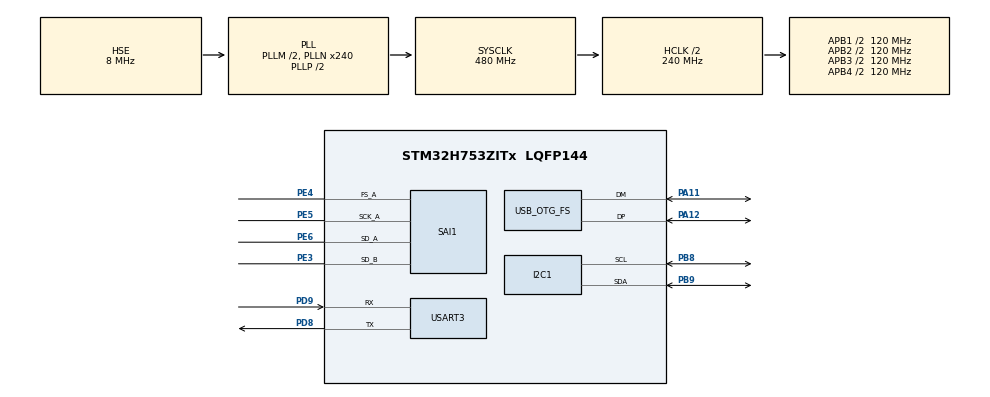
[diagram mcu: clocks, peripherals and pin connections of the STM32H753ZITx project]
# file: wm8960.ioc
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CORTEX_M7.default_mode_Activation=1
Dma.Request0=SAI1_A
Dma.Request1=SAI1_B
Dma.SAI1_A.0.Direction=DMA_MEMORY_TO_PERIPH
Dma.SAI1_A.0.EventEnable=DISABLE
Dma.SAI1_A.0.FIFOMode=DMA_FIFOMODE_DISABLE
Dma.SAI1_A.0.Instance=DMA1_Stream0
Dma.SAI1_A.0.MemDataAlignment=DMA_MDATAALIGN_HALFWORD
Dma.SAI1_A.0.MemInc=DMA_MINC_ENABLE
Dma.SAI1_A.0.Mode=DMA_CIRCULAR
Dma.SAI1_A.0.PeriphDataAlignment=DMA_PDATAALIGN_HALFWORD
Dma.SAI1_A.0.PeriphInc=DMA_PINC_DISABLE
Dma.SAI1_A.0.Polarity=HAL_DMAMUX_REQ_GEN_RISING
Dma.SAI1_A.0.Priority=DMA_PRIORITY_LOW
Dma.SAI1_A.0.RequestNumber=1
Dma.SAI1_A.0.SignalID=NONE
Dma.SAI1_A.0.SyncEnable=DISABLE
Dma.SAI1_A.0.SyncPolarity=HAL_DMAMUX_SYNC_NO_EVENT
Dma.SAI1_A.0.SyncRequestNumber=1
Dma.SAI1_A.0.SyncSignalID=NONE
Dma.SAI1_B.1.Direction=DMA_PERIPH_TO_MEMORY
Dma.SAI1_B.1.EventEnable=DISABLE
Dma.SAI1_B.1.FIFOMode=DMA_FIFOMODE_DISABLE
Dma.SAI1_B.1.Instance=DMA1_Stream1
Dma.SAI1_B.1.MemDataAlignment=DMA_MDATAALIGN_HALFWORD
Dma.SAI1_B.1.MemInc=DMA_MINC_ENABLE
Dma.SAI1_B.1.Mode=DMA_CIRCULAR
Dma.SAI1_B.1.PeriphDataAlignment=DMA_PDATAALIGN_HALFWORD
Dma.SAI1_B.1.PeriphInc=DMA_PINC_DISABLE
Dma.SAI1_B.1.Polarity=HAL_DMAMUX_REQ_GEN_RISING
Dma.SAI1_B.1.Priority=DMA_PRIORITY_LOW
Dma.SAI1_B.1.RequestNumber=1
Dma.SAI1_B.1.SignalID=NONE
Dma.SAI1_B.1.SyncEnable=DISABLE
Dma.SAI1_B.1.SyncPolarity=HAL_DMAMUX_SYNC_NO_EVENT
Dma.SAI1_B.1.SyncRequestNumber=1
Dma.SAI1_B.1.SyncSignalID=NONE
I2C1.Timing=0x307075B1
Mcu.Family=STM32H7
Mcu.Name=STM32H753ZITx
Mcu.Package=LQFP144
NVIC.DMA1_Stream0_IRQn=true\:0\:0\:false\:false\:true\:false\:true\:true
NVIC.DMA1_Stream1_IRQn=true\:0\:0\:false\:false\:true\:false\:true\:true
NVIC.OTG_FS_IRQn=true\:0\:0\:false\:false\:true\:false\:true\:true
NVIC.PriorityGroup=NVIC_PRIORITYGROUP_4
PA11.Mode=Device_Only
PA11.Signal=USB_OTG_FS_DM
PA12.Mode=Device_Only
PA12.Signal=USB_OTG_FS_DP
PB8.GPIO_Pu=GPIO_PULLUP
PB8.Mode=I2C
PB8.Signal=I2C1_SCL
PB9.GPIO_Pu=GPIO_PULLUP
PB9.Mode=I2C
PB9.Signal=I2C1_SDA
PD8.Mode=Asynchronous
PD8.Signal=USART3_TX
PD9.Mode=Asynchronous
PD9.Signal=USART3_RX
PE3.Mode=SAI_B_SyncSlave
PE3.Signal=SAI1_SD_B
PE4.Mode=SAI_A_Master
PE4.Signal=SAI1_FS_A
PE5.Mode=SAI_A_Master
PE5.Signal=SAI1_SCK_A
PE6.Mode=SAI_A_Master
PE6.Signal=SAI1_SD_A
PH0-OSC_IN\ (PH0).Mode=HSE-External-Clock-Source
PH0-OSC_IN\ (PH0).Signal=RCC_OSC_IN
ProjectManager.HeapSize=0x200
ProjectManager.StackSize=0x400
ProjectManager.TargetToolchain=STM32CubeIDE
RCC.ADCFreq_Value=24575976.5625
RCC.APB1Freq_Value=120000000
RCC.APB2Freq_Value=120000000
RCC.APB3Freq_Value=120000000
RCC.APB4Freq_Value=120000000
RCC.CortexFreq_Value=480000000
RCC.D1PPRE=RCC_APB3_DIV2
RCC.D2PPRE1=RCC_APB1_DIV2
RCC.D2PPRE2=RCC_APB2_DIV2
RCC.D3PPRE=RCC_APB4_DIV2
RCC.DIVM1=2
RCC.DIVM2=1
RCC.DIVN1=240
RCC.DIVN2=30
RCC.DIVP2=10
RCC.HCLKFreq_Value=240000000
RCC.HPRE=RCC_HCLK_DIV2
RCC.HSE_VALUE=8000000
RCC.PLL2FRACN=5898
RCC.PLLFRACN=0
RCC.PLLSourceVirtual=RCC_PLLSOURCE_HSE
RCC.SAI1CLockSelection=RCC_SAI1CLKSOURCE_PLL2
RCC.SYSCLKFreq_VALUE=480000000
RCC.SYSCLKSource=RCC_SYSCLKSOURCE_PLLCLK
RCC.USBCLockSelection=RCC_USBCLKSOURCE_HSI48
RCC.USBFreq_Value=48000000
SAI1.AudioFrequency-SAI_A_Master=SAI_AUDIO_FREQUENCY_48K
SAI1.AudioMode-SAI_A_Master=SAI_MODEMASTER_TX
SAI1.ErrorAudioFreq-SAI_A_Master=99.99 %
SAI1.InitProtocol-SAI_A_Master=Enable
SAI1.InitProtocol-SAI_B_SyncSlave=Enable
SAI1.Instance-SAI_A_Master=SAI$Index_Block_A
SAI1.Instance-SAI_B_SyncSlave=SAI$Index_Block_B
SAI1.MClockEnable-SAI_A_Master=SAI_MASTERCLOCK_DISABLE
SAI1.RealAudioFreq-SAI_A_Master=95.999 KHz
SAI1.VirtualMode-SAI_A_Master=VM_MASTER
SAI1.VirtualMode-SAI_B_SyncSlave=VM_SLAVE
SAI1.VirtualProtocol-SAI_A_BASIC=VM_BASIC_PROTOCOL
SAI1.VirtualProtocol-SAI_B_BASIC=VM_BASIC_PROTOCOL
USART3.VirtualMode-Asynchronous=VM_ASYNC
USB_DEVICE.CLASS_NAME_FS=AUDIO
USB_DEVICE.USBD_AUDIO_FREQ-AUDIO_FS=48000
USB_DEVICE.VirtualMode-AUDIO_FS=Audio
USB_DEVICE.VirtualModeFS=Audio_FS
USB_OTG_FS.VirtualMode=Device_Only
VP_MEMORYMAP_VS_MEMORYMAP.Mode=CurAppReg
VP_SAI1_VP_$IpInstance_SAIA_SAI_BASIC.Mode=SAI_A_BASIC
VP_SAI1_VP_$IpInstance_SAIB_SAI_BASIC.Mode=SAI_B_BASIC
VP_USB_DEVICE_VS_USB_DEVICE_AUDIO_FS.Mode=AUDIO_FS
board=custom

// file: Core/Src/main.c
/* USER CODE BEGIN Header */
/**
  ******************************************************************************
  * @file           : main.c
  * @brief          : Main program body
  ******************************************************************************
  * @attention
  *
  * Copyright (c) 2026 STMicroelectronics.
  * All rights reserved.
  *
  * This software is licensed under terms that can be found in the LICENSE file
  * in the root directory of this software component.
  * If no LICENSE file comes with this software, it is provided AS-IS.
  *
  ******************************************************************************
  */
/* USER CODE END Header */
#include "main.h"
#include "usb_device.h"

/* USER CODE BEGIN Includes */
#include "wm8960.h"
#include <stdio.h>
#include <string.h>
#include "usbd_audio_if.h"
/* USER CODE END Includes */

I2C_HandleTypeDef hi2c1;

SAI_HandleTypeDef hsai_BlockA1;
SAI_HandleTypeDef hsai_BlockB1;
DMA_HandleTypeDef hdma_sai1_a;
DMA_HandleTypeDef hdma_sai1_b;

UART_HandleTypeDef huart3;

/* USER CODE BEGIN PV */
#define SAI_AUDIO_SAMPLES 3840

int16_t tx_buf[SAI_AUDIO_SAMPLES];
int16_t rx_buf[SAI_AUDIO_SAMPLES];

volatile uint32_t sai_half_count = 0;
volatile uint32_t sai_full_count = 0;
volatile uint32_t sai_rx_half_count = 0;
volatile uint32_t sai_rx_full_count = 0;

extern volatile uint32_t usb_write_pos;
extern volatile uint8_t audio_start_pending;
extern volatile uint8_t audio_stream_started;
/* USER CODE END PV */

void SystemClock_Config(void);
void PeriphCommonClock_Config(void);
static void MPU_Config(void);
static void MX_GPIO_Init(void);
static void MX_DMA_Init(void);
static void MX_I2C1_Init(void);
static void MX_SAI1_Init(void);
static void MX_USART3_UART_Init(void);

/* USER CODE BEGIN 0 */
int _write(int file, char *ptr, int len)
{
    HAL_UART_Transmit(&huart3, (uint8_t*)ptr, len, HAL_MAX_DELAY);
    return len;
}

void HAL_SAI_RxHalfCpltCallback(SAI_HandleTypeDef *hsai)
{
    if (hsai == &hsai_BlockB1)
    {
        sai_rx_half_count++;
        RxHalfTransfer_CallBack_FS();        /* new */
    }
}

void HAL_SAI_RxCpltCallback(SAI_HandleTypeDef *hsai)
{
    if (hsai == &hsai_BlockB1)
    {
        sai_rx_full_count++;
        RxTransferComplete_CallBack_FS();    /* new */
    }
}
/* USER CODE END 0 */

int main(void)
{

  /* MPU Configuration--------------------------------------------------------*/
  MPU_Config();

  /* MCU Configuration--------------------------------------------------------*/

  /* Reset of all peripherals, Initializes the Flash interface and the Systick. */
  HAL_Init();

  /* Configure the system clock */
  SystemClock_Config();

  /* Configure the peripherals common clocks */
  PeriphCommonClock_Config();

  /* Initialize all configured peripherals */
  MX_GPIO_Init();
  MX_DMA_Init();
  MX_I2C1_Init();
  MX_SAI1_Init();
  MX_USART3_UART_Init();
  MX_USB_DEVICE_Init();
  /* USER CODE BEGIN 2 */
  printf("\r\n--- Boot ---\r\n");
  printf("Checking I2C...\r\n");
  if (!WM8960_IsReady(&hi2c1))
  {
      printf("WM8960 NOT FOUND on I2C bus\r\n");
  }
  else
  {
	  printf("WM8960 ACK received\r\n");
	  HAL_StatusTypeDef init_result = WM8960_Init(&hi2c1);
	  printf("Init sequence result: %d (0=OK)\r\n", init_result);
  }
  /* USER CODE END 2 */

  /* Infinite loop */
  /* USER CODE BEGIN WHILE */
  while (1)
  {
	  static uint32_t last_print = 0;

	  if (audio_start_pending && !audio_stream_started)
	  {
	      HAL_StatusTypeDef sai_result;

	      memset(tx_buf, 0, sizeof(tx_buf));
	      memset(rx_buf, 0, sizeof(rx_buf));

	      sai_result = HAL_SAI_Transmit_DMA(&hsai_BlockA1, (uint8_t *)tx_buf, SAI_AUDIO_SAMPLES);

	      printf("HAL_SAI_Transmit_DMA result = %d\r\n", sai_result);

	      if (sai_result == HAL_OK)
	      {
	          sai_result = HAL_SAI_Receive_DMA(&hsai_BlockB1, (uint8_t *)rx_buf, SAI_AUDIO_SAMPLES);
	          printf("HAL_SAI_Receive_DMA result = %d\r\n", sai_result);

	          if (sai_result == HAL_OK)
	          {
	              audio_stream_started = 1;
	              audio_start_pending = 0;
	              printf("I2S TX + RX streaming started\r\n");
	          }
	          else
	          {
	              printf("I2S RX DMA START FAILED\r\n");
	              HAL_SAI_DMAStop(&hsai_BlockA1);
	              audio_start_pending = 0;
	          }
	      }
	      else
	      {
	          printf("I2S TX DMA START FAILED\r\n");
	          audio_start_pending = 0;
	      }
	   }

	   if ((HAL_GetTick() - last_print) >= 1000U)
	   {
	       last_print = HAL_GetTick();

	       int16_t left_min = 32767;
	       int16_t left_max = -32768;
	       int16_t right_min = 32767;
	       int16_t right_max = -32768;

	       for (uint32_t i = 0; i < SAI_AUDIO_SAMPLES; i += 2)
	       {
	           int16_t L = rx_buf[i];
	           int16_t R = rx_buf[i + 1];

	           if (L < left_min)  left_min = L;
	           if (L > left_max)  left_max = L;

	           if (R < right_min) right_min = R;
	           if (R > right_max) right_max = R;
	       }

	       printf("L=[%d,%d] P-P=%d | R=[%d,%d] P-P=%d\r\n", left_min, left_max, left_max - left_min,
	              right_min, right_max, right_max - right_min);
	   }
    /* USER CODE END WHILE */

  }
}

void SystemClock_Config(void)
{
  RCC_OscInitTypeDef RCC_OscInitStruct = {0};
  RCC_ClkInitTypeDef RCC_ClkInitStruct = {0};

  /** Supply configuration update enable
  */
  HAL_PWREx_ConfigSupply(PWR_LDO_SUPPLY);

  /** Configure the main internal regulator output voltage
  */
  __HAL_PWR_VOLTAGESCALING_CONFIG(PWR_REGULATOR_VOLTAGE_SCALE0);

  while(!__HAL_PWR_GET_FLAG(PWR_FLAG_VOSRDY)) {}

  /** Initializes the RCC Oscillators according to the specified parameters
  * in the RCC_OscInitTypeDef structure.
  */
  RCC_OscInitStruct.OscillatorType = RCC_OSCILLATORTYPE_HSI48|RCC_OSCILLATORTYPE_HSE;
  RCC_OscInitStruct.HSEState = RCC_HSE_BYPASS;
  RCC_OscInitStruct.HSI48State = RCC_HSI48_ON;
  RCC_OscInitStruct.PLL.PLLState = RCC_PLL_ON;
  RCC_OscInitStruct.PLL.PLLSource = RCC_PLLSOURCE_HSE;
  RCC_OscInitStruct.PLL.PLLM = 2;
  RCC_OscInitStruct.PLL.PLLN = 240;
  RCC_OscInitStruct.PLL.PLLP = 2;
  RCC_OscInitStruct.PLL.PLLQ = 2;
  RCC_OscInitStruct.PLL.PLLR = 2;
  RCC_OscInitStruct.PLL.PLLRGE = RCC_PLL1VCIRANGE_2;
  RCC_OscInitStruct.PLL.PLLVCOSEL = RCC_PLL1VCOWIDE;
  RCC_OscInitStruct.PLL.PLLFRACN = 0;
  if (HAL_RCC_OscConfig(&RCC_OscInitStruct) != HAL_OK)
  {
    Error_Handler();
  }

  /** Initializes the CPU, AHB and APB buses clocks
  */
  RCC_ClkInitStruct.ClockType = RCC_CLOCKTYPE_HCLK|RCC_CLOCKTYPE_SYSCLK
                              |RCC_CLOCKTYPE_PCLK1|RCC_CLOCKTYPE_PCLK2
                              |RCC_CLOCKTYPE_D3PCLK1|RCC_CLOCKTYPE_D1PCLK1;
  RCC_ClkInitStruct.SYSCLKSource = RCC_SYSCLKSOURCE_PLLCLK;
  RCC_ClkInitStruct.SYSCLKDivider = RCC_SYSCLK_DIV1;
  RCC_ClkInitStruct.AHBCLKDivider = RCC_HCLK_DIV2;
  RCC_ClkInitStruct.APB3CLKDivider = RCC_APB3_DIV2;
  RCC_ClkInitStruct.APB1CLKDivider = RCC_APB1_DIV2;
  RCC_ClkInitStruct.APB2CLKDivider = RCC_APB2_DIV2;
  RCC_ClkInitStruct.APB4CLKDivider = RCC_APB4_DIV2;

  if (HAL_RCC_ClockConfig(&RCC_ClkInitStruct, FLASH_LATENCY_4) != HAL_OK)
  {
    Error_Handler();
  }
}

void PeriphCommonClock_Config(void)
{
  RCC_PeriphCLKInitTypeDef PeriphClkInitStruct = {0};

  /** Initializes the peripherals clock
  */
  PeriphClkInitStruct.PeriphClockSelection = RCC_PERIPHCLK_SAI1;
  PeriphClkInitStruct.PLL2.PLL2M = 1;
  PeriphClkInitStruct.PLL2.PLL2N = 30;
  PeriphClkInitStruct.PLL2.PLL2P = 10;
  PeriphClkInitStruct.PLL2.PLL2Q = 2;
  PeriphClkInitStruct.PLL2.PLL2R = 2;
  PeriphClkInitStruct.PLL2.PLL2RGE = RCC_PLL2VCIRANGE_3;
  PeriphClkInitStruct.PLL2.PLL2VCOSEL = RCC_PLL2VCOWIDE;
  PeriphClkInitStruct.PLL2.PLL2FRACN = 5898;
  PeriphClkInitStruct.Sai1ClockSelection = RCC_SAI1CLKSOURCE_PLL2;
  if (HAL_RCCEx_PeriphCLKConfig(&PeriphClkInitStruct) != HAL_OK)
  {
    Error_Handler();
  }
}

static void MX_I2C1_Init(void)
{

  hi2c1.Instance = I2C1;
  hi2c1.Init.Timing = 0x307075B1;
  hi2c1.Init.OwnAddress1 = 0;
  hi2c1.Init.AddressingMode = I2C_ADDRESSINGMODE_7BIT;
  hi2c1.Init.DualAddressMode = I2C_DUALADDRESS_DISABLE;
  hi2c1.Init.OwnAddress2 = 0;
  hi2c1.Init.OwnAddress2Masks = I2C_OA2_NOMASK;
  hi2c1.Init.GeneralCallMode = I2C_GENERALCALL_DISABLE;
  hi2c1.Init.NoStretchMode = I2C_NOSTRETCH_DISABLE;
  if (HAL_I2C_Init(&hi2c1) != HAL_OK)
  {
    Error_Handler();
  }

  /** Configure Analogue filter
  */
  if (HAL_I2CEx_ConfigAnalogFilter(&hi2c1, I2C_ANALOGFILTER_ENABLE) != HAL_OK)
  {
    Error_Handler();
  }

  /** Configure Digital filter
  */
  if (HAL_I2CEx_ConfigDigitalFilter(&hi2c1, 0) != HAL_OK)
  {
    Error_Handler();
  }

}

static void MX_SAI1_Init(void)
{

  hsai_BlockA1.Instance = SAI1_Block_A;
  hsai_BlockA1.Init.AudioMode = SAI_MODEMASTER_TX;
  hsai_BlockA1.Init.Synchro = SAI_ASYNCHRONOUS;
  hsai_BlockA1.Init.OutputDrive = SAI_OUTPUTDRIVE_DISABLE;
  hsai_BlockA1.Init.NoDivider = SAI_MCK_OVERSAMPLING_DISABLE;
  hsai_BlockA1.Init.MckOverSampling = SAI_MCK_OVERSAMPLING_DISABLE;
  hsai_BlockA1.Init.FIFOThreshold = SAI_FIFOTHRESHOLD_EMPTY;
  hsai_BlockA1.Init.AudioFrequency = SAI_AUDIO_FREQUENCY_48K;
  hsai_BlockA1.Init.SynchroExt = SAI_SYNCEXT_DISABLE;
  hsai_BlockA1.Init.MonoStereoMode = SAI_STEREOMODE;
  hsai_BlockA1.Init.CompandingMode = SAI_NOCOMPANDING;
  hsai_BlockA1.Init.TriState = SAI_OUTPUT_NOTRELEASED;
  if (HAL_SAI_InitProtocol(&hsai_BlockA1, SAI_I2S_STANDARD, SAI_PROTOCOL_DATASIZE_16BIT, 2) != HAL_OK)
  {
    Error_Handler();
  }
  hsai_BlockB1.Instance = SAI1_Block_B;
  hsai_BlockB1.Init.AudioMode = SAI_MODESLAVE_RX;
  hsai_BlockB1.Init.Synchro = SAI_SYNCHRONOUS;
  hsai_BlockB1.Init.OutputDrive = SAI_OUTPUTDRIVE_DISABLE;
  hsai_BlockB1.Init.MckOverSampling = SAI_MCK_OVERSAMPLING_DISABLE;
  hsai_BlockB1.Init.FIFOThreshold = SAI_FIFOTHRESHOLD_EMPTY;
  hsai_BlockB1.Init.SynchroExt = SAI_SYNCEXT_DISABLE;
  hsai_BlockB1.Init.MonoStereoMode = SAI_STEREOMODE;
  hsai_BlockB1.Init.CompandingMode = SAI_NOCOMPANDING;
  hsai_BlockB1.Init.TriState = SAI_OUTPUT_NOTRELEASED;
  if (HAL_SAI_InitProtocol(&hsai_BlockB1, SAI_I2S_STANDARD, SAI_PROTOCOL_DATASIZE_16BIT, 2) != HAL_OK)
  {
    Error_Handler();
  }

}

static void MX_USART3_UART_Init(void)
{

  huart3.Instance = USART3;
  huart3.Init.BaudRate = 115200;
  huart3.Init.WordLength = UART_WORDLENGTH_8B;
  huart3.Init.StopBits = UART_STOPBITS_1;
  huart3.Init.Parity = UART_PARITY_NONE;
  huart3.Init.Mode = UART_MODE_TX_RX;
  huart3.Init.HwFlowCtl = UART_HWCONTROL_NONE;
  huart3.Init.OverSampling = UART_OVERSAMPLING_16;
  huart3.Init.OneBitSampling = UART_ONE_BIT_SAMPLE_DISABLE;
  huart3.Init.ClockPrescaler = UART_PRESCALER_DIV1;
  huart3.AdvancedInit.AdvFeatureInit = UART_ADVFEATURE_NO_INIT;
  if (HAL_UART_Init(&huart3) != HAL_OK)
  {
    Error_Handler();
  }
  if (HAL_UARTEx_SetTxFifoThreshold(&huart3, UART_TXFIFO_THRESHOLD_1_8) != HAL_OK)
  {
    Error_Handler();
  }
  if (HAL_UARTEx_SetRxFifoThreshold(&huart3, UART_RXFIFO_THRESHOLD_1_8) != HAL_OK)
  {
    Error_Handler();
  }
  if (HAL_UARTEx_DisableFifoMode(&huart3) != HAL_OK)
  {
    Error_Handler();
  }

}

static void MX_DMA_Init(void)
{

  /* DMA controller clock enable */
  __HAL_RCC_DMA1_CLK_ENABLE();

  /* DMA interrupt init */
  /* DMA1_Stream0_IRQn interrupt configuration */
  HAL_NVIC_SetPriority(DMA1_Stream0_IRQn, 0, 0);
  HAL_NVIC_EnableIRQ(DMA1_Stream0_IRQn);
  /* DMA1_Stream1_IRQn interrupt configuration */
  HAL_NVIC_SetPriority(DMA1_Stream1_IRQn, 0, 0);
  HAL_NVIC_EnableIRQ(DMA1_Stream1_IRQn);

}

static void MX_GPIO_Init(void)
{

  /* GPIO Ports Clock Enable */
  __HAL_RCC_GPIOE_CLK_ENABLE();
  __HAL_RCC_GPIOH_CLK_ENABLE();
  __HAL_RCC_GPIOD_CLK_ENABLE();
  __HAL_RCC_GPIOA_CLK_ENABLE();
  __HAL_RCC_GPIOB_CLK_ENABLE();

}

/* USER CODE BEGIN 4 */
void HAL_SAI_TxHalfCpltCallback(SAI_HandleTypeDef *hsai)
{
    if (hsai == &hsai_BlockA1)
    {
        sai_half_count++;
    }
}

void HAL_SAI_TxCpltCallback(SAI_HandleTypeDef *hsai)
{
    if (hsai == &hsai_BlockA1)
    {
        sai_full_count++;
    }
}

/* USER CODE END 4 */

 /* MPU Configuration */

void MPU_Config(void)
{
  MPU_Region_InitTypeDef MPU_InitStruct = {0};

  /* Disables the MPU */
  HAL_MPU_Disable();

  /** Initializes and configures the Region and the memory to be protected
  */
  MPU_InitStruct.Enable = MPU_REGION_ENABLE;
  MPU_InitStruct.Number = MPU_REGION_NUMBER0;
  MPU_InitStruct.BaseAddress = 0x0;
  MPU_InitStruct.Size = MPU_REGION_SIZE_4GB;
  MPU_InitStruct.SubRegionDisable = 0x87;
  MPU_InitStruct.TypeExtField = MPU_TEX_LEVEL0;
  MPU_InitStruct.AccessPermission = MPU_REGION_NO_ACCESS;
  MPU_InitStruct.DisableExec = MPU_INSTRUCTION_ACCESS_DISABLE;
  MPU_InitStruct.IsShareable = MPU_ACCESS_SHAREABLE;
  MPU_InitStruct.IsCacheable = MPU_ACCESS_NOT_CACHEABLE;
  MPU_InitStruct.IsBufferable = MPU_ACCESS_NOT_BUFFERABLE;

  HAL_MPU_ConfigRegion(&MPU_InitStruct);
  /* Enables the MPU */
  HAL_MPU_Enable(MPU_PRIVILEGED_DEFAULT);

}

void Error_Handler(void)
{
  __disable_irq();
  while (1)
  {
  }
}
